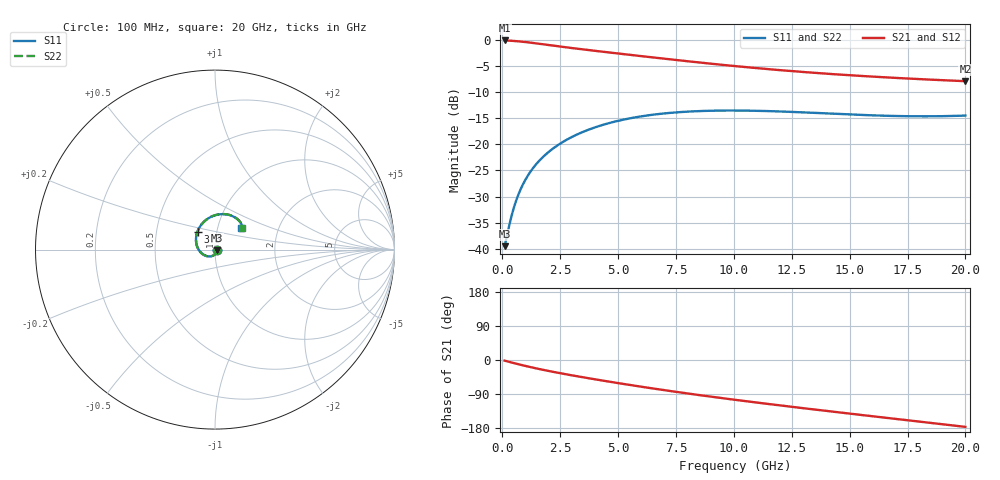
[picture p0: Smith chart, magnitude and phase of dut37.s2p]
! Touchstone file exported from HFSS 2024.1.0
!  File:  C:/UserFiles/LocalFiles/RDL_TSV_Batchsim/temp_RDL_TSV_37_1779403830.aedt
!  Generated:  07:03:30 AM May 22, 2026
!  Design:  RDL_TSV
!  Project:  temp_RDL_TSV_37_1779403830
!  Setup:  Setup1
!  Solution:  Sweep
! Variables:
!  dtsv = 12.59um
!  hbump = 3um
!  htsv = 70.98um
!  ldown = 680.02um
!  lrdl = 125.92um
!  p = 40
!  p1 = 46.8um
!  rhole = 10um
!  subl = 2543.74um
!  t = 450um
!  tdown = 4.2um
!  trdl = 2.47um
!  viad = 10um
!  wdown = 27.78um
!  wrdl = 29.53um
!  xbump = 18um
# GHz S MA R 50.000000
! Terminal data exported
! Port[1] = TM1_1_T1
! Port[2] = TM1_4_T1
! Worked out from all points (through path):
!   200 points, 100 MHz to 20 GHz, reference 50 ohm
!   highest |S21| = -0.09 dB at 100 MHz (marker M1); lowest = -7.9 dB at 20 GHz (marker M2)
!   group delay of S21, straight-line fit = 23.2 ps
!   lowest |S11| = -39.5 dB at 100 MHz (marker M3), VSWR 1.02, Z = 51 - j0.471 ohm
!   |S11| at or under -10 dB: start of sweep to end of sweep
!   |S22| runs from -39.5 to -13.5 dB; largest |S21 - S12| = 4.2e-14
!   S11 on the Smith chart (normalised r, x): 100 MHz: 1.02, -0.01; 3.8 GHz: 0.81, +0.17; 20 GHz: 1.30, +0.32
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0.1  0.01059 -25.9  0.9896 -1.7  0.9896 -1.7  0.01059 -25.9
! Gamma 0 0 0 0
! Port Impedance 50 0 50 0
0.4  0.02065 -76.9  0.9823 -6.6  0.9823 -6.6  0.02064 -76.9
0.6  0.02901 -96.5  0.9751 -9.7  0.9751 -9.7  0.02901 -96.6
0.7  0.03326 -104.5  0.9708 -11.2  0.9708 -11.2  0.03326 -104.5
0.9  0.04172 -118.4  0.9611 -14.2  0.9611 -14.2  0.04173 -118.4
1.2  0.05411 -136.0  0.9443 -18.5  0.9443 -18.5  0.05413 -136.0
1.6  0.06983 -155.7  0.9198 -23.9  0.9198 -23.9  0.06987 -155.8
2.1  0.08812 -176.4  0.8888 -30.1  0.8888 -30.1  0.08819 -176.4
2.7  0.1082 163.1  0.8538 -37.1  0.8538 -37.1  0.1083 163.1
3.5  0.1321 141.1  0.8117 -45.8  0.8117 -45.8  0.1323 141.0
3.8  0.1402 134.0  0.797 -48.9  0.797 -48.9  0.1405 134.0
4.5  0.1574 119.5  0.7644 -56.0  0.7644 -56.0  0.1577 119.5
5.2  0.172 107.3  0.7337 -62.9  0.7337 -62.9  0.1724 107.2
6.8  0.1959 85.1  0.6691 -77.8  0.6691 -77.8  0.1964 85.1
8.4  0.2079 68.8  0.6122 -91.7  0.6122 -91.7  0.2086 68.8
10.1  0.211 56.1  0.5608 -105.4  0.5608 -105.4  0.2117 56.1
11.7  0.2077 47.5  0.5208 -117.6  0.5208 -117.6  0.2085 47.5
13.4  0.2008 41.3  0.4861 -130.1  0.4861 -130.1  0.2016 41.3
15  0.1935 38.1  0.4597 -141.5  0.4597 -141.5  0.1944 38.0
16.7  0.1876 36.9  0.4367 -153.4  0.4367 -153.4  0.1885 36.8
18.3  0.1857 37.3  0.4189 -164.6  0.4189 -164.6  0.1865 37.2
20  0.1888 38.6  0.4029 -176.5  0.4029 -176.5  0.1896 38.5
